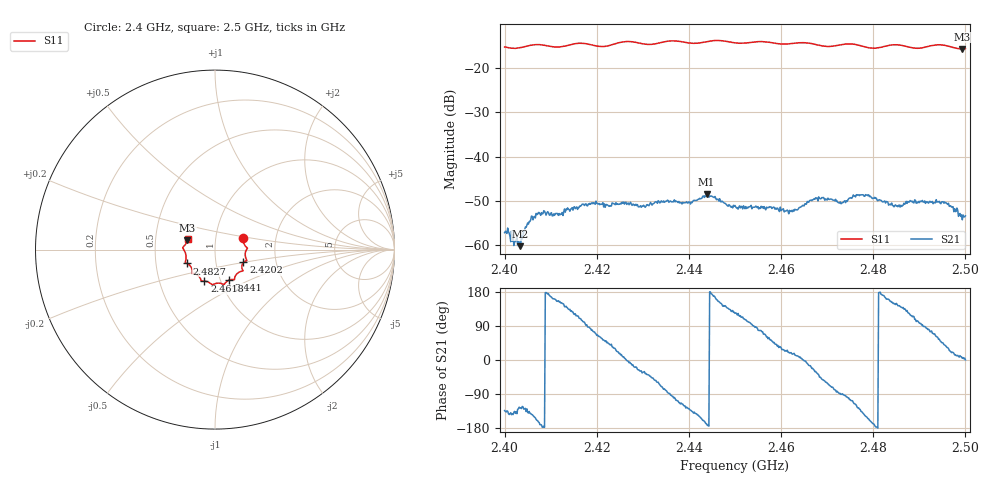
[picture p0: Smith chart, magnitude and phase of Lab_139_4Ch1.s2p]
# Hz S RI R 50
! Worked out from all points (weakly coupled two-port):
!   601 points, 2.4 GHz to 2.5 GHz, reference 50 ohm
!   highest |S21| = -48.47 dB at 2.4438 GHz (marker M1); lowest = -60.2 dB at 2.4033 GHz (marker M2)
!   lowest |S11| = -15.8 dB at 2.4993 GHz (marker M3), VSWR 1.39, Z = 36.5 + j3.84 ohm
!   |S11| at or under -10 dB: start of sweep to end of sweep
!   S12 and S22 are empty: the file has one direction only
!   S11 on the Smith chart (normalised r, x): 2.4 GHz: 1.36, +0.18; 2.4202 GHz: 1.36, -0.20; 2.441 GHz: 1.10, -0.39; 2.4618 GHz: 0.84, -0.30; 2.4827 GHz: 0.72, -0.11; 2.5 GHz: 0.73, +0.09
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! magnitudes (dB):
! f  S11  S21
! 2.4 GHz  -15.4  -57.1
! 2.4033 GHz  -15.5  -60.2
! 2.4055 GHz  -15.0  -54.6
! 2.407 GHz  -14.8  -53.1
! 2.4122 GHz  -15.4  -52.9
! 2.4167 GHz  -14.5  -51.0
! 2.4202 GHz  -15.2  -50.7
! 2.4295 GHz  -14.6  -51.1
! 2.4333 GHz  -14.5  -49.9
! 2.441 GHz  -14.6  -49.9
! 2.4438 GHz  -14.2  -48.5
! 2.45 GHz  -14.4  -51.0
! 2.4618 GHz  -14.6  -52.1
! 2.4667 GHz  -14.6  -49.9
! 2.4687 GHz  -15.1  -49.5
! 2.473 GHz  -14.9  -50.6
! 2.4773 GHz  -15.1  -48.6
! 2.4827 GHz  -15.2  -50.5
! 2.4833 GHz  -15.0  -50.9
! 2.4953 GHz  -15.0  -50.5
! 2.4993 GHz  -15.8  -54.2
! 2.5 GHz  -15.7  -53.4
